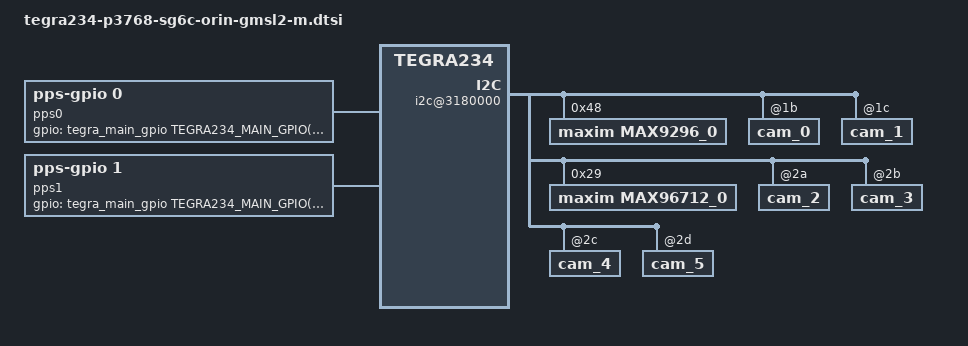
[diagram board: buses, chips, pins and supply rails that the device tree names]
/*
 * Copyright (c) 2018-2021, NVIDIA CORPORATION.  All rights reserved.
 *
 * This program is free software; you can redistribute it and/or modify it
 * under the terms and conditions of the GNU General Public License,
 * version 2, as published by the Free Software Foundation.
 *
 * This program is distributed in the hope it will be useful, but WITHOUT
 * ANY WARRANTY; without even the implied warranty of MERCHANTABILITY or
 * FITNESS FOR A PARTICULAR PURPOSE.  See the GNU General Public License for
 * more details.
 *
 * You should have received a copy of the GNU General Public License
 * along with this program.  If not, see <http://www.gnu.org/licenses/>.
 */

#include "dt-bindings/clock/tegra234-clock.h"

 #include "sgx-yuv-gmsl.dtsi"
// #include "sg2-ar0234c-gmsl2.dtsi"
// #include "sg8-imx678c-gmsl2.dtsi"
// #include "sg8-imx728c-gmsl2.dtsi"
// #include "sgx-ar0234-imx728-gmsl2.dtsi"


//For gpio@2200000
#define CAM0_RST_L	TEGRA234_MAIN_GPIO(H, 3)   //DER PWDNB
#define CAM0_PWDN	TEGRA234_MAIN_GPIO(H, 6)
#define CAM1_RST_L	TEGRA234_MAIN_GPIO(AC, 1)
#define CAM1_PWDN	TEGRA234_MAIN_GPIO(AC, 0)

#define POC1_EN		    TEGRA234_MAIN_GPIO(Q, 5)  //Camera POC1

//For gpio@c2f0000
#define POC2_EN		    TEGRA234_AON_GPIO(CC, 3)
#define POC3_EN		    TEGRA234_AON_GPIO(CC, 1)

#define CAMERA_I2C_MUX_BUS(x) (0x1E + x)

//for syn tirgger
#define CAM1_FSYNC1	TEGRA234_AON_GPIO(BB, 2)
#define CAM1_FSYNC2	TEGRA234_MAIN_GPIO(AC, 2)
#define CAM_FSYNC	TEGRA234_MAIN_GPIO(G, 6)

/* camera control gpio definitions */
/ {
    pps0 {
            gpios = <&tegra_main_gpio TEGRA234_MAIN_GPIO(Q, 6) GPIO_ACTIVE_HIGH>;    //GPIO11
			
            compatible = "pps-gpio,0";
            status = "okay";
    };
	pps1 {
			gpios = <&tegra_main_gpio TEGRA234_MAIN_GPIO(H, 0) GPIO_ACTIVE_HIGH>;    //GPIO13
			
            compatible = "pps-gpio,1";
            status = "okay";
    };

// 	leds{
//   		compatible = "gpio-leds";
// 		status = "okay";

// 		camsync { 
//     		label = "camsync-gpio"; //生成节点名称 /sys/class/leds/camsync-gpio
//             gpios = <&tegra_main_gpio CAM_FSYNC GPIO_ACTIVE_HIGH>;
//             default-state = "off";   //开机默认配置on 表示开机高   off 表示开机低
//         };
//    };

	// gpio@2200000 {
	// 	camera-control-output-low {
	// 		gpio-hog;
	// 		output-low;
	// 		gpios = <CAM0_PWDN 0 CAM1_PWDN 0 POC1_EN 0>;
	// 		label = "cam0-pwdn", "cam1-pwdn", "poc1-en";
	// 	};
	// };

	i2c@3180000 {
		//U4
		max9296_0@48 {
			compatible = "maxim,max9296_0";
			// reset-gpios = <&tegra_main_gpio CAM1_RST_L GPIO_ACTIVE_HIGH>;
			// poc-gpios = <&tegra_aon_gpio POC3_EN GPIO_ACTIVE_LOW>;
			reg = <0x48>;
		};

		cam_0@1b {
			/* Define any required hw resources needed by driver */
			/* ie. clocks, io pins, power sources */
			clocks = <&bpmp_clks TEGRA234_CLK_EXTPERIPH1>,
					<&bpmp_clks TEGRA234_CLK_EXTPERIPH1>;
			clock-names = "extperiph1", "pllp_grtba";
			mclk = "extperiph1";
			der_id = <0>;//
		};
		cam_1@1c {
			/* Define any required hw resources needed by driver */
			/* ie. clocks, io pins, power sources */
			clocks = <&bpmp_clks TEGRA234_CLK_EXTPERIPH1>,
					<&bpmp_clks TEGRA234_CLK_EXTPERIPH1>;
			clock-names = "extperiph1", "pllp_grtba";
			mclk = "extperiph1";
			der_id = <0>;//
		};

		max96712_0@29 {
			compatible = "maxim,max96712_0";
			reg = <0x29>;
			// reset-gpios = <&tegra_main_gpio CAM0_PWDN GPIO_ACTIVE_HIGH>;
			// poc-gpios = <&tegra_main_gpio POC1_EN GPIO_ACTIVE_LOW>;
		};
		cam_2@2a {
			/* Define any required hw resources needed by driver */
			/* ie. clocks, io pins, power sources */
			clocks = <&bpmp_clks TEGRA234_CLK_EXTPERIPH1>,
					<&bpmp_clks TEGRA234_CLK_EXTPERIPH1>;
			clock-names = "extperiph1", "pllp_grtba";
			mclk = "extperiph1";
			der_id = <0>;//
			ser_id = <0>;//
		};
		cam_3@2b {
			/* Define any required hw resources needed by driver */
			/* ie. clocks, io pins, power sources */
			clocks = <&bpmp_clks TEGRA234_CLK_EXTPERIPH1>,
					<&bpmp_clks TEGRA234_CLK_EXTPERIPH1>;
			clock-names = "extperiph1", "pllp_grtba";
			mclk = "extperiph1";
			der_id = <0>;//
			ser_id = <1>;//
		};
		cam_4@2c {
			/* Define any required hw resources needed by driver */
			/* ie. clocks, io pins, power sources */
			clocks = <&bpmp_clks TEGRA234_CLK_EXTPERIPH1>,
					<&bpmp_clks TEGRA234_CLK_EXTPERIPH1>;
			clock-names = "extperiph1", "pllp_grtba";
			mclk = "extperiph1";
			der_id = <0>;//
			ser_id = <2>;//
		};
		cam_5@2d {
			/* Define any required hw resources needed by driver */
			/* ie. clocks, io pins, power sources */
			clocks = <&bpmp_clks TEGRA234_CLK_EXTPERIPH1>,
					<&bpmp_clks TEGRA234_CLK_EXTPERIPH1>;
			clock-names = "extperiph1", "pllp_grtba";
			mclk = "extperiph1";
			der_id = <0>;//
			ser_id = <3>;//
		};
	};
};
